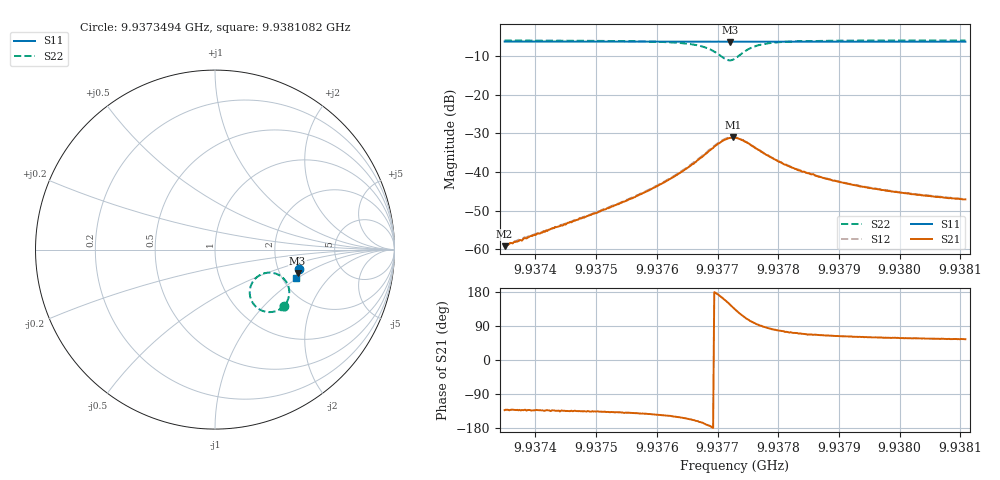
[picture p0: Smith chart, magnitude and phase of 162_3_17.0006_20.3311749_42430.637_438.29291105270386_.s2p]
#  HZ  S  RI  R  50.00
! Rohde & Schwarz Vector Network Analyzer
! Rohde-Schwarz,ZNB20-2Port,1311601062101988,3.16
! Created: UTC 3/20/2024, 10:59:18 PM
! freq[Hz]  re:S11  im:S11  re:S21  im:S21  re:S12  im:S12  re:S22  im:S22
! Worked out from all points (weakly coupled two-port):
!   401 points, 9.9373494 GHz to 9.9381082 GHz, reference 50 ohm
!   highest |S21| = -31.07 dB at 9.937725 GHz (marker M1); lowest = -59.1 dB at 9.9373494 GHz (marker M2)
!   lowest |S11| = -6.4 dB at 9.9377212 GHz (marker M3), VSWR 2.83, Z = 125 - j42.9 ohm
!   |S11| at or under -10 dB: nowhere
!   |S22| runs from -11.2 to -6.0 dB; largest |S21 - S12| = 0.0013
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9.93734935e9  0.4706 -0.1097  -0.000741 -0.000817  -0.000787 -0.00083  0.3857 -0.3141
9.93747646e9  0.468 -0.1183  -0.0018 -0.00178  -0.00183 -0.00181  0.3699 -0.3269
9.93754286e9  0.4664 -0.1227  -0.00302 -0.00268  -0.00312 -0.00269  0.3557 -0.3356
9.93760357e9  0.4648 -0.127  -0.00554 -0.00392  -0.0057 -0.0039  0.3311 -0.345
9.93764531e9  0.4633 -0.1298  -0.00948 -0.00477  -0.00977 -0.00469  0.2962 -0.3482
9.93767946e9  0.4618 -0.1321  -0.0166 -0.00336  -0.017 -0.00308  0.2394 -0.3278
9.93769274e9  0.461 -0.1328  -0.0204 -0.000239  -0.0212 0.000199  0.211 -0.2981
9.93770412e9  0.4602 -0.133  -0.0235 0.00473  -0.0239 0.00546  0.1945 -0.2534
9.93771361e9  0.4598 -0.1328  -0.0242 0.0105  -0.0243 0.0118  0.1988 -0.2043
9.9377212e9  0.4596 -0.1328  -0.0227 0.0158  -0.0224 0.017  0.22 -0.1665
9.93772499e9  0.4598 -0.1326  -0.0212 0.0183  -0.0207 0.0192  0.2362 -0.1511
9.93772878e9  0.4599 -0.1326  -0.019 0.02  -0.0185 0.021  0.255 -0.1394
9.93773827e9  0.4603 -0.1329  -0.0134 0.0227  -0.0127 0.0234  0.3043 -0.1282
9.93775155e9  0.4608 -0.1336  -0.00622 0.0224  -0.00539 0.0227  0.3597 -0.1435
9.93777052e9  0.4612 -0.135  -0.000304 0.0187  0.000305 0.0187  0.3987 -0.1827
9.93781226e9  0.4608 -0.1385  0.0034 0.012  0.00362 0.012  0.414 -0.2418
9.93783502e9  0.4602 -0.1404  0.00361 0.00988  0.00381 0.00987  0.412 -0.2598
9.93785589e9  0.4598 -0.1417  0.00364 0.00862  0.00381 0.00845  0.4092 -0.2713
9.93791091e9  0.4584 -0.1454  0.00331 0.00632  0.00348 0.00634  0.4015 -0.2907
9.937983e9  0.4566 -0.1503  0.00297 0.00483  0.00306 0.00487  0.3929 -0.3054
9.93805889e9  0.4548 -0.1552  0.00267 0.00396  0.00278 0.00401  0.3859 -0.3153
9.93810821e9  0.4534 -0.1585  0.00255 0.00363  0.00261 0.00361  0.3815 -0.3202
